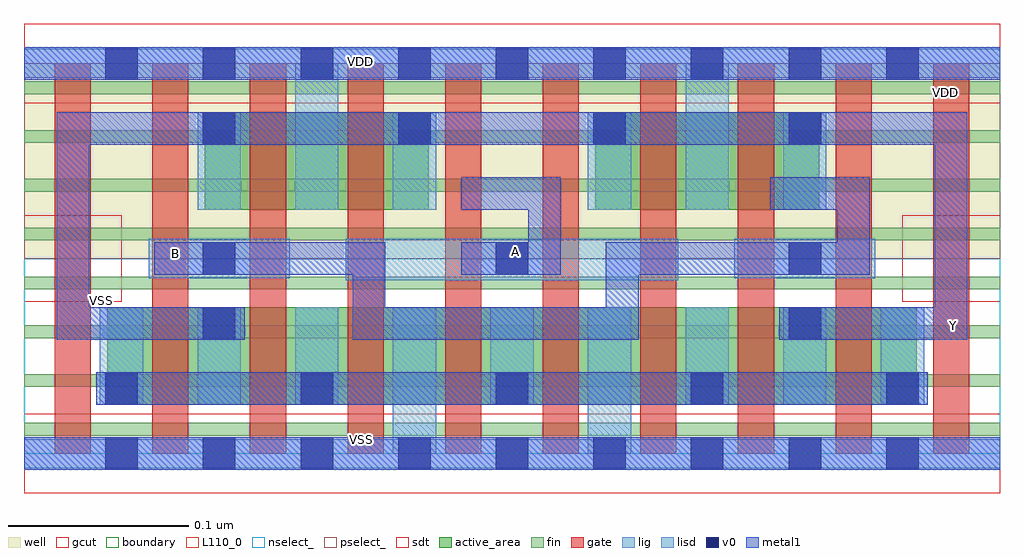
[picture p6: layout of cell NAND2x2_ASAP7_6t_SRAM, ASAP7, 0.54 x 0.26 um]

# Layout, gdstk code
import gdstk
lib = gdstk.Library(unit=1e-6, precision=2.5e-10)
def R(c, l, rs):  # rectangles x0, y0, x1, y1
    for r in rs: c.add(gdstk.rectangle(r[:2], r[2:], *l))
def A(c, l, x, y, w, h, nx, ny, dx, dy):  # array of equal rectangles
    R(c, l, [(x+i*dx, y+j*dy, x+i*dx+w, y+j*dy+h) for i in range(nx) for j in range(ny)])
def P(c, l, *ps):  # polygons
    for p in ps: c.add(gdstk.Polygon(p, *l))
well = (1, 0)
fin = (2, 0)
gate = (7, 0)
gcut = (10, 0)
active_area = (11, 0)
nselect_ = (12, 0)
pselect_ = (13, 0)
lig = (16, 0)
lisd = (17, 0)
v0 = (18, 0)
metal1 = (19, 0)
sdt = (88, 0)
boundary = (100, 0)
L110_0 = (110, 0)

nand2x2_asap7_6t_sram = lib.new_cell('NAND2x2_ASAP7_6t_SRAM')
R(nand2x2_asap7_6t_sram, well, [(0,0.108,0.54,0.216)])
A(nand2x2_asap7_6t_sram, fin, 0, 0.01, 0.54, 0.007, 1, 8, 0, 0.027)
A(nand2x2_asap7_6t_sram, gate, 0.017, 0, 0.02, 0.216, 10, 1, 0.054, 0)
R(nand2x2_asap7_6t_sram, gcut, [(0,-0.022,0.54,0.022), (0,0.084,0.054,0.132), (0.486,0.084,0.54,0.132), (0,0.194,0.54,0.238)])
R(nand2x2_asap7_6t_sram, active_area, [(0.046,0.027,0.494,0.081), (0.1,0.135,0.224,0.189), (0.316,0.135,0.44,0.189)])
R(nand2x2_asap7_6t_sram, nselect_, [(0,0,0.54,0.108)])
R(nand2x2_asap7_6t_sram, pselect_, [(0,0.108,0.54,0.216)])
R(nand2x2_asap7_6t_sram, lig, [(0,-0.008,0.54,0.008), (0,-0.008,0.54,0.008), (0.178,0.096,0.362,0.119), (0.069,0.097,0.147,0.119), (0.393,0.097,0.471,0.119), (0,0.208,0.54,0.224)])
A(nand2x2_asap7_6t_sram, lisd, 0.042, 0.027, 0.024, 0.054, 3, 1, 0.054, 0)
A(nand2x2_asap7_6t_sram, lisd, 0.366, 0.027, 0.024, 0.054, 3, 1, 0.054, 0)
A(nand2x2_asap7_6t_sram, lisd, 0.096, 0.135, 0.024, 0.054, 4, 1, 0.108, 0)
R(nand2x2_asap7_6t_sram, lisd, [(0.204,0,0.228,0.081), (0.312,0,0.336,0.081), (0.258,0.027,0.282,0.081), (0.15,0.135,0.174,0.216), (0.366,0.135,0.39,0.216)])
A(nand2x2_asap7_6t_sram, v0, 0.045, 0.027, 0.018, 0.018, 5, 1, 0.108, 0)
A(nand2x2_asap7_6t_sram, v0, 0.099, 0.099, 0.018, 0.018, 3, 1, 0.162, 0)
A(nand2x2_asap7_6t_sram, v0, 0.099, 0.171, 0.018, 0.018, 4, 1, 0.108, 0)
A(nand2x2_asap7_6t_sram, v0, 0.045, 0.207, 0.018, 0.018, 9, 1, 0.054, 0)
R(nand2x2_asap7_6t_sram, v0, [(0.045,-0.009,0.063,0.009), (0.045,-0.009,0.063,0.009), (0.099,-0.009,0.117,0.009), (0.099,-0.009,0.117,0.009), (0.153,-0.009,0.171,0.009), (0.153,-0.009,0.171,0.009), (0.207,-0.009,0.225,0.009), (0.207,-0.009,0.225,0.009), (0.261,-0.009,0.279,0.009), (0.261,-0.009,0.279,0.009), (0.315,-0.009,0.333,0.009), (0.315,-0.009,0.333,0.009), (0.369,-0.009,0.387,0.009), (0.369,-0.009,0.387,0.009), (0.423,-0.009,0.441,0.009), (0.423,-0.009,0.441,0.009), (0.477,-0.009,0.495,0.009), (0.477,-0.009,0.495,0.009), (0.099,0.063,0.117,0.081), (0.423,0.063,0.441,0.081)])
R(nand2x2_asap7_6t_sram, metal1, [(0,-0.009,0.54,0.009), (0,-0.009,0.54,0.009), (0.04,0.027,0.5,0.045), (0,0.207,0.54,0.225)])
P(nand2x2_asap7_6t_sram, metal1, [(0.468,0.099),(0.34,0.099),(0.34,0.063),(0.182,0.063),(0.182,0.099),(0.072,0.099),(0.072,0.117),(0.2,0.117),(0.2,0.081),(0.322,0.081),(0.322,0.117),(0.45,0.117),(0.45,0.135),(0.413,0.135),(0.413,0.153),(0.468,0.153)],
  [(0.522,0.189),(0.018,0.189),(0.018,0.063),(0.122,0.063),(0.122,0.081),(0.036,0.081),(0.036,0.171),(0.504,0.171),(0.504,0.081),(0.418,0.081),(0.418,0.063),(0.522,0.063)],
  [(0.297,0.099),(0.242,0.099),(0.242,0.117),(0.279,0.117),(0.279,0.135),(0.242,0.135),(0.242,0.153),(0.297,0.153)])
A(nand2x2_asap7_6t_sram, sdt, 0.042, 0.027, 0.024, 0.054, 9, 1, 0.054, 0)
A(nand2x2_asap7_6t_sram, sdt, 0.096, 0.135, 0.024, 0.054, 3, 1, 0.054, 0)
A(nand2x2_asap7_6t_sram, sdt, 0.312, 0.135, 0.024, 0.054, 3, 1, 0.054, 0)
R(nand2x2_asap7_6t_sram, boundary, [(0,0,0.54,0.216)])
R(nand2x2_asap7_6t_sram, L110_0, [(0,0,0.54,0.216)])
nand2x2_asap7_6t_sram.add(gdstk.Label('Y', (0.514,0.071), layer=19, texttype=251))
nand2x2_asap7_6t_sram.add(gdstk.Label('A', (0.272,0.112), layer=19, texttype=251))
nand2x2_asap7_6t_sram.add(gdstk.Label('B', (0.084,0.111), layer=19, texttype=251))
nand2x2_asap7_6t_sram.add(gdstk.Label('VDD', (0.186,0.217), layer=19, texttype=251))
nand2x2_asap7_6t_sram.add(gdstk.Label('VSS', (0.187,0.008), layer=19, texttype=251))
nand2x2_asap7_6t_sram.add(gdstk.Label('VDD', (0.51,0.2), layer=1, texttype=251))
nand2x2_asap7_6t_sram.add(gdstk.Label('VSS', (0.043,0.085), layer=3, texttype=251))

lib.write_gds('NAND2x2_ASAP7_6t_SRAM.gds')
